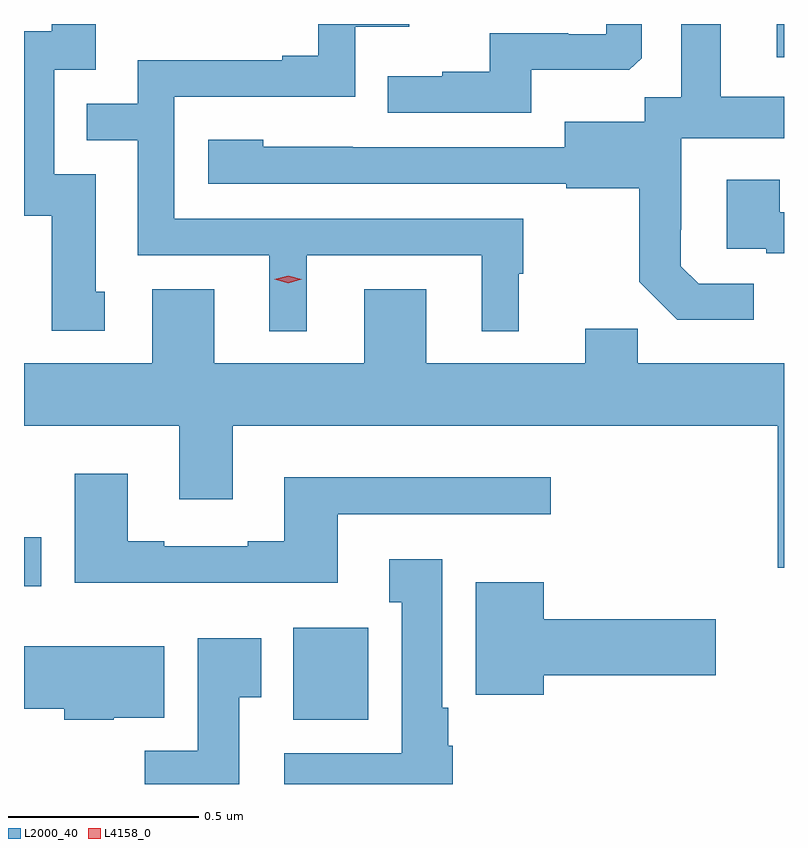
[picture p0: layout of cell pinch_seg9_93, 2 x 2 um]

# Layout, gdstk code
import gdstk
lib = gdstk.Library(unit=1e-6, precision=1e-09)
def R(c, l, rs):  # rectangles x0, y0, x1, y1
    for r in rs: c.add(gdstk.rectangle(r[:2], r[2:], *l))
def P(c, l, *ps):  # polygons
    for p in ps: c.add(gdstk.Polygon(p, *l))
L2000_40 = (2000, 40)
L4158_0 = (4158, 0)

pinch_seg9_93 = lib.new_cell('pinch_seg9_93')
R(pinch_seg9_93, L2000_40, [(1110.785,1192.982,1110.982,1193.224), (1110.076,1193.333,1110.121,1193.463), (1112.057,1194.726,1112.076,1194.813)])
P(pinch_seg9_93, L2000_40, [(1111.411,1194.692),(1111.669,1194.692),(1111.701,1194.723),(1111.701,1194.813),(1111.608,1194.813),(1111.608,1194.786),(1111.508,1194.786),(1111.508,1194.789),(1111.301,1194.789),(1111.301,1194.688),(1111.177,1194.688),(1111.177,1194.676),(1111.033,1194.676),(1111.033,1194.579),(1111.411,1194.579)],
  [(1110.289,1194.108),(1110.265,1194.108),(1110.265,1194.417),(1110.156,1194.417),(1110.156,1194.693),(1110.265,1194.693),(1110.265,1194.813),(1110.149,1194.813),(1110.149,1194.794),(1110.076,1194.794),(1110.076,1194.309),(1110.149,1194.309),(1110.149,1194.006),(1110.289,1194.006)],
  [(1111.996,1194.129),(1111.851,1194.129),(1111.804,1194.176),(1111.804,1194.271),(1111.806,1194.271),(1111.806,1194.512),(1112.076,1194.512),(1112.076,1194.622),(1111.909,1194.622),(1111.909,1194.813),(1111.805,1194.813),(1111.805,1194.62),(1111.71,1194.62),(1111.71,1194.556),(1111.499,1194.556),(1111.499,1194.489),(1110.941,1194.489),(1110.941,1194.49),(1110.705,1194.49),(1110.705,1194.508),(1110.561,1194.508),(1110.561,1194.393),(1111.503,1194.393),(1111.503,1194.381),(1111.695,1194.381),(1111.695,1194.135),(1111.795,1194.035),(1111.996,1194.035)],
  [(1110.82,1194.204),(1111.28,1194.204),(1111.28,1194.005),(1111.378,1194.005),(1111.378,1194.156),(1111.39,1194.156),(1111.39,1194.3),(1110.471,1194.3),(1110.471,1194.621),(1110.948,1194.621),(1110.948,1194.806),(1111.09,1194.806),(1111.09,1194.813),(1110.85,1194.813),(1110.85,1194.73),(1110.755,1194.73),(1110.755,1194.717),(1110.375,1194.717),(1110.375,1194.603),(1110.241,1194.603),(1110.241,1194.507),(1110.375,1194.507),(1110.375,1194.204),(1110.722,1194.204),(1110.722,1194.005),(1110.82,1194.005)],
  [(1112.076,1194.318),(1112.065,1194.318),(1112.065,1194.403),(1111.925,1194.403),(1111.925,1194.222),(1112.029,1194.222),(1112.029,1194.21),(1112.076,1194.21)],
  [(1112.076,1193.92),(1111.691,1193.92),(1111.691,1194.011),(1111.553,1194.011),(1111.553,1193.92),(1111.135,1193.92),(1111.135,1194.115),(1110.971,1194.115),(1110.971,1193.92),(1110.577,1193.92),(1110.577,1194.115),(1110.413,1194.115),(1110.413,1193.92),(1110.076,1193.92),(1110.076,1193.756),(1110.485,1193.756),(1110.485,1193.562),(1110.625,1193.562),(1110.625,1193.756),(1112.06,1193.756),(1112.06,1193.382),(1112.076,1193.382)],
  [(1110.901,1193.523),(1111.462,1193.523),(1111.462,1193.62),(1110.761,1193.62),(1110.761,1193.452),(1110.665,1193.452),(1110.665,1193.439),(1110.445,1193.439),(1110.445,1193.452),(1110.349,1193.452),(1110.349,1193.629),(1110.209,1193.629),(1110.209,1193.342),(1110.901,1193.342)],
  [(1111.204,1192.914),(1111.192,1192.914),(1111.192,1193.014),(1111.177,1193.014),(1111.177,1193.404),(1111.037,1193.404),(1111.037,1193.291),(1111.07,1193.291),(1111.07,1192.894),(1110.761,1192.894),(1110.761,1192.813),(1111.204,1192.813)],
  [(1111.444,1193.099),(1111.897,1193.099),(1111.897,1193.246),(1111.444,1193.246),(1111.444,1193.344),(1111.265,1193.344),(1111.265,1193.048),(1111.444,1193.048)],
  [(1110.643,1193.041),(1110.7,1193.041),(1110.7,1193.197),(1110.533,1193.197),(1110.533,1192.9),(1110.394,1192.9),(1110.394,1192.813),(1110.643,1192.813)],
  [(1110.312,1192.988),(1110.445,1192.988),(1110.445,1193.176),(1110.076,1193.176),(1110.076,1193.011),(1110.182,1193.011),(1110.182,1192.982),(1110.312,1192.982)])
P(pinch_seg9_93, L4158_0, [(1110.771,1194.131),(1110.735,1194.141),(1110.735,1194.141),(1110.735,1194.141),(1110.771,1194.151),(1110.807,1194.141),(1110.807,1194.141),(1110.807,1194.141)])

lib.write_gds('pinch_seg9_93.gds')
